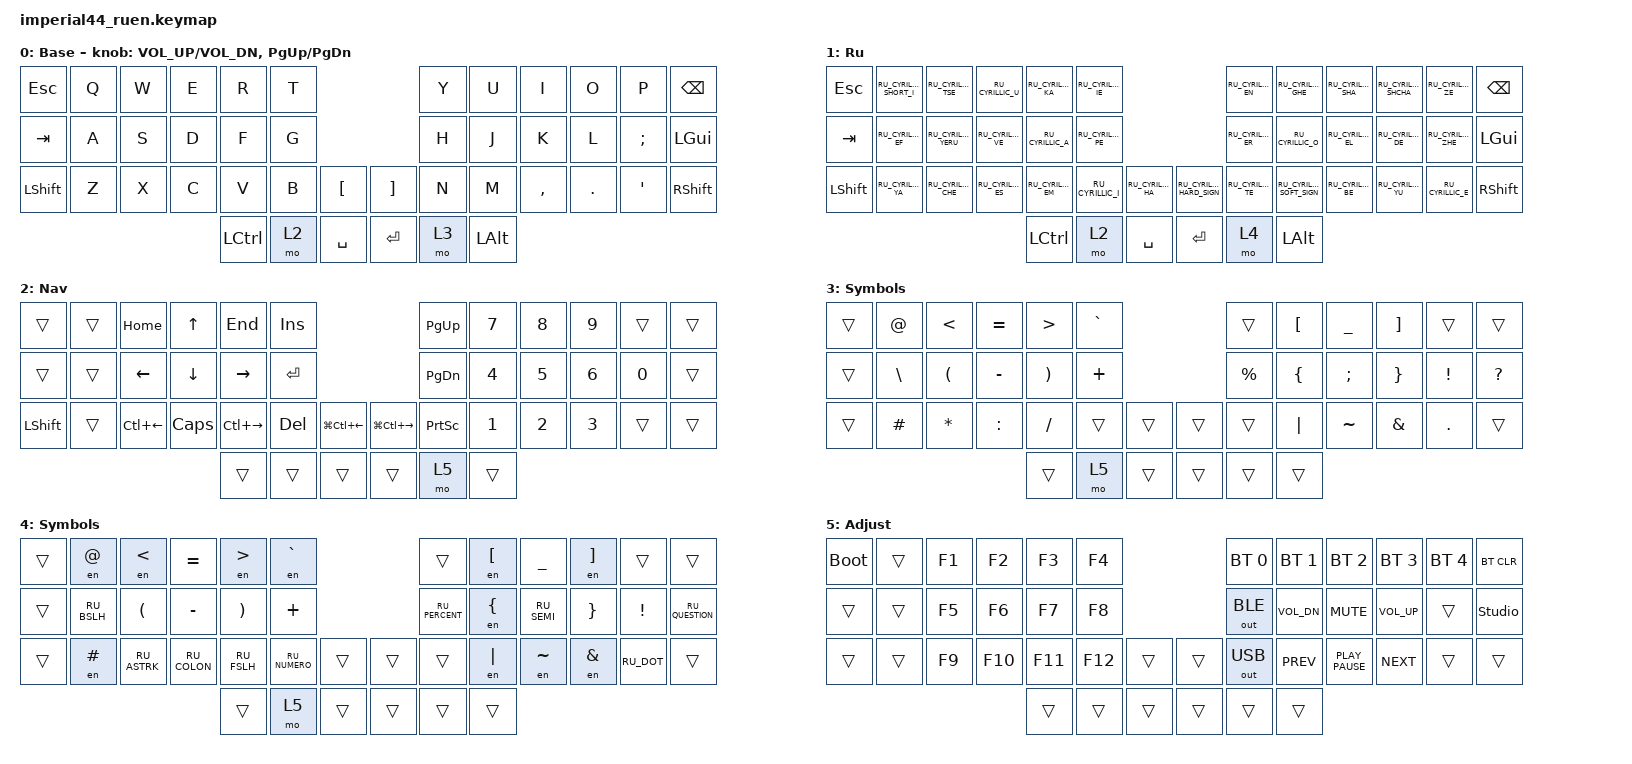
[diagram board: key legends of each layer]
#include "keys_ru.h"
#include <behaviors.dtsi>
#include <dt-bindings/zmk/bt.h>
#include <dt-bindings/zmk/keys.h>
#include <dt-bindings/zmk/outputs.h>

/ {
    combos {
        compatible = "zmk,combos";

        cmben {
            bindings = <&layer_en>;
            key-positions = <16 15>;
            layers = <1>;
        };

        cmbru {
            bindings = <&layer_ru>;
            key-positions = <15 16>;
            layers = <0>;
        };
    };

    macros {
        to_ru: to_ru {
            compatible = "zmk,behavior-macro";
            #binding-cells = <0>;
            bindings = <&kp LS(LC(N2))>;
            label = "TO_RU";
            wait-ms = <0>;
            tap-ms = <30>;
        };

        to_en: to_en {
            compatible = "zmk,behavior-macro";
            #binding-cells = <0>;
            bindings = <&kp LS(LC(N1))>;
            label = "TO_EN";
            wait-ms = <0>;
            tap-ms = <30>;
        };

        layer_en: layer_en {
            compatible = "zmk,behavior-macro";
            #binding-cells = <0>;
            bindings = <&to 0 &to_en>;
            label = "LAYER_EN";
            wait-ms = <0>;
            tap-ms = <30>;
        };

        layer_ru: layer_ru {
            compatible = "zmk,behavior-macro";
            #binding-cells = <0>;
            bindings = <&to 1 &to_ru>;
            label = "LAYER_RU";
            tap-ms = <30>;
            wait-ms = <0>;
        };

        en: en {
            compatible = "zmk,behavior-macro-one-param";
            #binding-cells = <1>;
            bindings =
                <&to_en>,
                <&macro_press>,
                <&macro_param_1to1 &kp MACRO_PLACEHOLDER>,
                <&macro_pause_for_release>,
                <&macro_release>,
                <&macro_param_1to1 &kp MACRO_PLACEHOLDER>,
                <&macro_tap>,
                <&to_ru>,
                <&macro_press>;

            label = "EN";
            wait-ms = <0>;
            tap-ms = <30>;
        };
    };

    behaviors {
        en_space: en_space {
            compatible = "zmk,behavior-mod-morph";
            label = "EN_SPACE";
            bindings = <&kp SPACE>, <&layer_en>;

            #binding-cells = <0>;
            mods = <(MOD_LGUI)>;
        };

        ru_spase: ru_spase {
            compatible = "zmk,behavior-mod-morph";
            label = "RU_SPASE";
            bindings = <&kp SPACE>, <&layer_ru>;

            #binding-cells = <0>;
            mods = <(MOD_LGUI)>;
        };
    };

    keymap {
        compatible = "zmk,keymap";

        en {
            bindings = <
&kp ESC    &kp Q  &kp W  &kp E  &kp R      &kp T                          &kp Y  &kp U         &kp I      &kp O    &kp P     &kp BACKSPACE
&kp TAB    &kp A  &kp S  &kp D  &kp F      &kp G                          &kp H  &kp J         &kp K      &kp L    &kp SEMI  &kp LGUI
&kp LSHFT  &kp Z  &kp X  &kp C  &kp V      &kp B  &kp LBKT     &kp RBKT   &kp N  &kp M         &kp COMMA  &kp DOT  &kp SQT   &kp RSHFT
                                &kp LCTRL  &mo 2  &kp SPACE    &kp ENTER  &mo 3  &kp LEFT_ALT
            >;

            display-name = "Base";
            sensor-bindings =
                <&inc_dec_kp C_VOL_UP C_VOL_DN>,
                <&inc_dec_kp PG_UP PG_DN>;
        };

        ru {
            display-name = "Ru";
            bindings = <
&kp ESC    &kp RU_CYRILLIC_SHORT_I  &kp RU_CYRILLIC_TSE   &kp RU_CYRILLIC_U   &kp RU_CYRILLIC_KA  &kp RU_CYRILLIC_IE                                                   &kp RU_CYRILLIC_EN  &kp RU_CYRILLIC_GHE        &kp RU_CYRILLIC_SHA  &kp RU_CYRILLIC_SHCHA  &kp RU_CYRILLIC_ZE   &kp BACKSPACE
&kp TAB    &kp RU_CYRILLIC_EF       &kp RU_CYRILLIC_YERU  &kp RU_CYRILLIC_VE  &kp RU_CYRILLIC_A   &kp RU_CYRILLIC_PE                                                   &kp RU_CYRILLIC_ER  &kp RU_CYRILLIC_O          &kp RU_CYRILLIC_EL   &kp RU_CYRILLIC_DE     &kp RU_CYRILLIC_ZHE  &kp LGUI
&kp LSHFT  &kp RU_CYRILLIC_YA       &kp RU_CYRILLIC_CHE   &kp RU_CYRILLIC_ES  &kp RU_CYRILLIC_EM  &kp RU_CYRILLIC_I   &kp RU_CYRILLIC_HA    &kp RU_CYRILLIC_HARD_SIGN  &kp RU_CYRILLIC_TE  &kp RU_CYRILLIC_SOFT_SIGN  &kp RU_CYRILLIC_BE   &kp RU_CYRILLIC_YU     &kp RU_CYRILLIC_E    &kp RSHFT
                                                                              &kp LCTRL           &mo 2               &kp SPACE             &kp ENTER                  &mo 4               &kp LEFT_ALT
            >;
        };

        nav {
            bindings = <
&trans          &trans  &kp HOME      &kp UP    &kp END        &kp INS                                         &kp PG_UP        &kp N7  &kp N8  &kp N9  &trans  &trans
&trans          &trans  &kp LEFT      &kp DOWN  &kp RIGHT      &kp RET                                         &kp PG_DN        &kp N4  &kp N5  &kp N6  &kp N0  &trans
&kp LEFT_SHIFT  &trans  &kp LC(LEFT)  &kp CAPS  &kp LC(RIGHT)  &kp DEL  &kp LG(LC(LEFT))    &kp LG(LC(RIGHT))  &kp PRINTSCREEN  &kp N1  &kp N2  &kp N3  &trans  &trans
                                                &trans         &trans   &trans              &trans             &mo 5            &trans
            >;

            display-name = "Nav";
        };

        sym_en {
            bindings = <
&trans  &kp AT    &kp LT    &kp EQUAL  &kp GT    &kp GRAVE                    &trans     &kp LBKT  &kp UNDER  &kp RBKT  &trans    &trans
&trans  &kp BSLH  &kp LPAR  &kp MINUS  &kp RPAR  &kp PLUS                     &kp PRCNT  &kp LBRC  &kp SEMI   &kp RBRC  &kp EXCL  &kp QUESTION
&trans  &kp HASH  &kp STAR  &kp COLON  &kp FSLH  &trans     &trans    &trans  &trans     &kp PIPE  &kp TILDE  &kp AMPS  &kp DOT   &trans
                                       &trans    &mo 5      &trans    &trans  &trans     &trans
            >;

            display-name = "Symbols";
        };

        sym_ru {
            display-name = "Symbols";
            bindings = <
&trans  &en AT_SIGN  &en LT        &kp EQUAL     &en GT       &en GRAVE                        &trans          &en LBKT  &kp UNDER    &en RBKT  &trans      &trans
&trans  &kp RU_BSLH  &kp LPAR      &kp MINUS     &kp RPAR     &kp PLUS                         &kp RU_PERCENT  &en LBRC  &kp RU_SEMI  &kp RBRC  &kp EXCL    &kp RU_QUESTION
&trans  &en HASH     &kp RU_ASTRK  &kp RU_COLON  &kp RU_FSLH  &kp RU_NUMERO  &trans    &trans  &trans          &en PIPE  &en TILDE    &en AMPS  &kp RU_DOT  &trans
                                                 &trans       &mo 5          &trans    &trans  &trans          &trans
            >;
        };

        adj {
            bindings = <
&bootloader  &trans  &kp F1  &kp F2   &kp F3   &kp F4                     &bt BT_SEL 0  &bt BT_SEL 1  &bt BT_SEL 2      &bt BT_SEL 3  &bt BT_SEL 4  &bt BT_CLR
&trans       &trans  &kp F5  &kp F6   &kp F7   &kp F8                     &out OUT_BLE  &kp C_VOL_DN  &kp K_MUTE        &kp C_VOL_UP  &trans        &studio_unlock
&trans       &trans  &kp F9  &kp F10  &kp F11  &kp F12  &trans    &trans  &out OUT_USB  &kp K_PREV    &kp K_PLAY_PAUSE  &kp K_NEXT    &trans        &trans
                                      &trans   &trans   &trans    &trans  &trans        &trans
            >;

            display-name = "Adjust";
        };
    };
};
